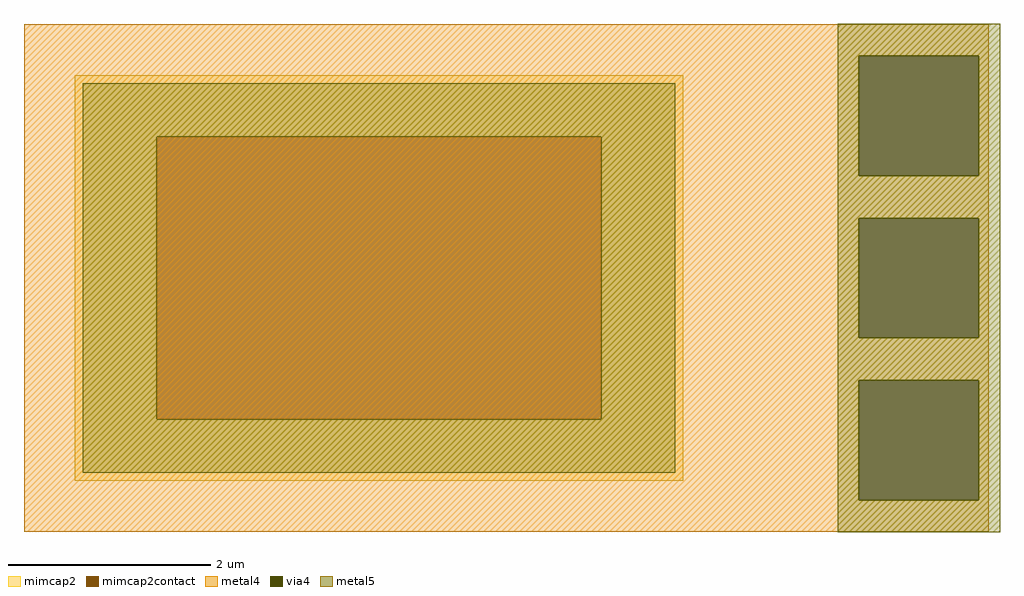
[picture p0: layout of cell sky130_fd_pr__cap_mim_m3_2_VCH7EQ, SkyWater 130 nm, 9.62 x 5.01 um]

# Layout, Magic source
magic
tech sky130A
magscale 1 2
<< metal4 >>
rect -951 438 951 500
rect -951 202 695 438
rect 931 202 951 438
rect -951 118 951 202
rect -951 -118 695 118
rect 931 -118 951 118
rect -951 -202 951 -118
rect -951 -438 695 -202
rect 931 -438 951 -202
rect -951 -500 951 -438
<< via4 >>
rect 695 202 931 438
rect 695 -118 931 118
rect 695 -438 931 -202
<< mimcap2 >>
rect -851 278 349 400
rect -851 -278 -689 278
rect 187 -278 349 278
rect -851 -400 349 -278
<< mimcap2contact >>
rect -689 -278 187 278
<< metal5 >>
rect 653 438 973 501
rect -835 278 333 384
rect -835 -278 -689 278
rect 187 -278 333 278
rect -835 -384 333 -278
rect 653 202 695 438
rect 931 202 973 438
rect 653 118 973 202
rect 653 -118 695 118
rect 931 -118 973 118
rect 653 -202 973 -118
rect 653 -438 695 -202
rect 931 -438 973 -202
rect 653 -501 973 -438
<< properties >>
string FIXED_BBOX -951 -500 449 500
<< end >>
